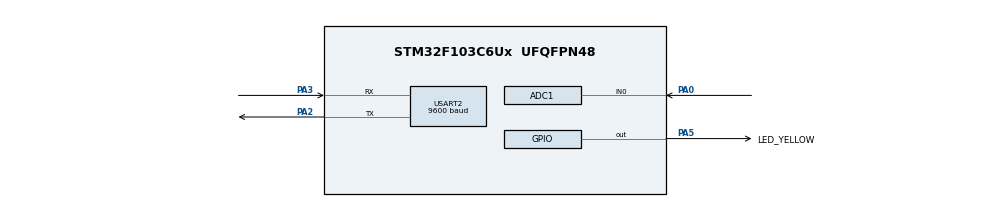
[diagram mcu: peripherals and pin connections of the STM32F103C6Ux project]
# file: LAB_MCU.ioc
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ADC1.Channel-0\#ChannelRegularConversion=ADC_CHANNEL_0
ADC1.ContinuousConvMode=ENABLE
ADC1.NbrOfConversionFlag=1
ADC1.Rank-0\#ChannelRegularConversion=1
ADC1.SamplingTime-0\#ChannelRegularConversion=ADC_SAMPLETIME_1CYCLE_5
ADC1.master=1
Mcu.Family=STM32F1
Mcu.Name=STM32F103C6Ux
Mcu.Package=UFQFPN48
NVIC.PriorityGroup=NVIC_PRIORITYGROUP_4
NVIC.TIM2_IRQn=true\:0\:0\:false\:false\:true\:true\:true
NVIC.USART2_IRQn=true\:0\:0\:false\:false\:true\:true\:true
PA0-WKUP.Signal=ADCx_IN0
PA2.Mode=Asynchronous
PA2.Signal=USART2_TX
PA3.Mode=Asynchronous
PA3.Signal=USART2_RX
PA5.GPIO_Label=LED_YELLOW
PA5.Signal=GPIO_Output
ProjectManager.HeapSize=0x200
ProjectManager.StackSize=0x400
ProjectManager.TargetToolchain=STM32CubeIDE
RCC.APB1Freq_Value=8000000
RCC.APB2Freq_Value=8000000
SH.ADCx_IN0.0=ADC1_IN0,IN0
TIM2.Period=9
TIM2.Prescaler=7999
USART2.BaudRate=9600
USART2.VirtualMode=VM_ASYNC
VP_SYS_VS_ND.Mode=No_Debug
VP_TIM2_VS_ClockSourceINT.Mode=Internal
board=custom

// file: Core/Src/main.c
/* USER CODE BEGIN Header */
/**
 ******************************************************************************
 * @file           : main.c
 * @brief          : Main program body
 ******************************************************************************
 * @attention
 *
 * <h2><center>&copy; Copyright (c) 2024 STMicroelectronics.
 * All rights reserved.</center></h2>
 *
 * This software component is licensed by ST under BSD 3-Clause license,
 * the "License"; You may not use this file except in compliance with the
 * License. You may obtain a copy of the License at:
 *                        opensource.org/licenses/BSD-3-Clause
 *
 ******************************************************************************
 */
/* USER CODE END Header */
#include "main.h"

/* USER CODE BEGIN Includes */
#include "command_parser_fsm.h"
#include "uart_communication_fsm.h"
#include "software_timer.h"
/* USER CODE END Includes */

ADC_HandleTypeDef hadc1;

TIM_HandleTypeDef htim2;

UART_HandleTypeDef huart2;

void SystemClock_Config(void);
static void MX_GPIO_Init(void);
static void MX_ADC1_Init(void);
static void MX_USART2_UART_Init(void);
static void MX_TIM2_Init(void);

/* USER CODE BEGIN 0 */
#define MAX_BUFFER_SIZE 30
uint8_t temp = 0;
uint8_t buffer[MAX_BUFFER_SIZE];
uint8_t index_buffer = 0;
uint8_t buffer_flag = 0;
void HAL_UART_RxCpltCallback(UART_HandleTypeDef *huart) {
	if (huart->Instance == USART2) {
		//HAL_UART_Transmit(&huart2, &temp, 1, 50);
		buffer[index_buffer++] = temp;
		if (index_buffer == 30)
			index_buffer = 0;
		buffer_flag = 1;
		HAL_UART_Receive_IT(&huart2, &temp, 1);
	}
}
/* USER CODE END 0 */

int main(void) {

	/* MCU Configuration--------------------------------------------------------*/

	/* Reset of all peripherals, Initializes the Flash interface and the Systick. */
	HAL_Init();

	/* Configure the system clock */
	SystemClock_Config();

	/* Initialize all configured peripherals */
	MX_GPIO_Init();
	MX_ADC1_Init();
	MX_USART2_UART_Init();
	MX_TIM2_Init();
	/* USER CODE BEGIN 2 */
	HAL_UART_Receive_IT(&huart2, &temp, 1);
	HAL_TIM_Base_Start_IT(&htim2);
	/* USER CODE END 2 */

	/* Infinite loop */
	/* USER CODE BEGIN WHILE */
	state = IDLE;
	while (1) {
		if (buffer_flag == 1) {
			command_parser_fsm_run();
			buffer_flag = 0;
		}
		uart_communication_fsm_run();
		/* USER CODE END WHILE */

	}
}

void SystemClock_Config(void) {
	RCC_OscInitTypeDef RCC_OscInitStruct = { 0 };
	RCC_ClkInitTypeDef RCC_ClkInitStruct = { 0 };
	RCC_PeriphCLKInitTypeDef PeriphClkInit = { 0 };

	/** Initializes the RCC Oscillators according to the specified parameters
	 * in the RCC_OscInitTypeDef structure.
	 */
	RCC_OscInitStruct.OscillatorType = RCC_OSCILLATORTYPE_HSI;
	RCC_OscInitStruct.HSIState = RCC_HSI_ON;
	RCC_OscInitStruct.HSICalibrationValue = RCC_HSICALIBRATION_DEFAULT;
	RCC_OscInitStruct.PLL.PLLState = RCC_PLL_NONE;
	if (HAL_RCC_OscConfig(&RCC_OscInitStruct) != HAL_OK) {
		Error_Handler();
	}
	/** Initializes the CPU, AHB and APB buses clocks
	 */
	RCC_ClkInitStruct.ClockType = RCC_CLOCKTYPE_HCLK | RCC_CLOCKTYPE_SYSCLK
			| RCC_CLOCKTYPE_PCLK1 | RCC_CLOCKTYPE_PCLK2;
	RCC_ClkInitStruct.SYSCLKSource = RCC_SYSCLKSOURCE_HSI;
	RCC_ClkInitStruct.AHBCLKDivider = RCC_SYSCLK_DIV1;
	RCC_ClkInitStruct.APB1CLKDivider = RCC_HCLK_DIV1;
	RCC_ClkInitStruct.APB2CLKDivider = RCC_HCLK_DIV1;

	if (HAL_RCC_ClockConfig(&RCC_ClkInitStruct, FLASH_LATENCY_0) != HAL_OK) {
		Error_Handler();
	}
	PeriphClkInit.PeriphClockSelection = RCC_PERIPHCLK_ADC;
	PeriphClkInit.AdcClockSelection = RCC_ADCPCLK2_DIV2;
	if (HAL_RCCEx_PeriphCLKConfig(&PeriphClkInit) != HAL_OK) {
		Error_Handler();
	}
}

static void MX_ADC1_Init(void) {

	ADC_ChannelConfTypeDef sConfig = { 0 };

	/** Common config
	 */
	hadc1.Instance = ADC1;
	hadc1.Init.ScanConvMode = ADC_SCAN_DISABLE;
	hadc1.Init.ContinuousConvMode = ENABLE;
	hadc1.Init.DiscontinuousConvMode = DISABLE;
	hadc1.Init.ExternalTrigConv = ADC_SOFTWARE_START;
	hadc1.Init.DataAlign = ADC_DATAALIGN_RIGHT;
	hadc1.Init.NbrOfConversion = 1;
	if (HAL_ADC_Init(&hadc1) != HAL_OK) {
		Error_Handler();
	}
	/** Configure Regular Channel
	 */
	sConfig.Channel = ADC_CHANNEL_0;
	sConfig.Rank = ADC_REGULAR_RANK_1;
	sConfig.SamplingTime = ADC_SAMPLETIME_1CYCLE_5;
	if (HAL_ADC_ConfigChannel(&hadc1, &sConfig) != HAL_OK) {
		Error_Handler();
	}

}

static void MX_TIM2_Init(void) {

	TIM_ClockConfigTypeDef sClockSourceConfig = { 0 };
	TIM_MasterConfigTypeDef sMasterConfig = { 0 };

	htim2.Instance = TIM2;
	htim2.Init.Prescaler = 7999;
	htim2.Init.CounterMode = TIM_COUNTERMODE_UP;
	htim2.Init.Period = 9;
	htim2.Init.ClockDivision = TIM_CLOCKDIVISION_DIV1;
	htim2.Init.AutoReloadPreload = TIM_AUTORELOAD_PRELOAD_DISABLE;
	if (HAL_TIM_Base_Init(&htim2) != HAL_OK) {
		Error_Handler();
	}
	sClockSourceConfig.ClockSource = TIM_CLOCKSOURCE_INTERNAL;
	if (HAL_TIM_ConfigClockSource(&htim2, &sClockSourceConfig) != HAL_OK) {
		Error_Handler();
	}
	sMasterConfig.MasterOutputTrigger = TIM_TRGO_RESET;
	sMasterConfig.MasterSlaveMode = TIM_MASTERSLAVEMODE_DISABLE;
	if (HAL_TIMEx_MasterConfigSynchronization(&htim2, &sMasterConfig)
			!= HAL_OK) {
		Error_Handler();
	}

}

static void MX_USART2_UART_Init(void) {

	huart2.Instance = USART2;
	huart2.Init.BaudRate = 9600;
	huart2.Init.WordLength = UART_WORDLENGTH_8B;
	huart2.Init.StopBits = UART_STOPBITS_1;
	huart2.Init.Parity = UART_PARITY_NONE;
	huart2.Init.Mode = UART_MODE_TX_RX;
	huart2.Init.HwFlowCtl = UART_HWCONTROL_NONE;
	huart2.Init.OverSampling = UART_OVERSAMPLING_16;
	if (HAL_UART_Init(&huart2) != HAL_OK) {
		Error_Handler();
	}

}

static void MX_GPIO_Init(void) {
	GPIO_InitTypeDef GPIO_InitStruct = { 0 };

	/* GPIO Ports Clock Enable */
	__HAL_RCC_GPIOA_CLK_ENABLE();

	/*Configure GPIO pin Output Level */
	HAL_GPIO_WritePin(LED_YELLOW_GPIO_Port, LED_YELLOW_Pin, GPIO_PIN_RESET);

	/*Configure GPIO pin : LED_YELLOW_Pin */
	GPIO_InitStruct.Pin = LED_YELLOW_Pin;
	GPIO_InitStruct.Mode = GPIO_MODE_OUTPUT_PP;
	GPIO_InitStruct.Pull = GPIO_NOPULL;
	GPIO_InitStruct.Speed = GPIO_SPEED_FREQ_LOW;
	HAL_GPIO_Init(LED_YELLOW_GPIO_Port, &GPIO_InitStruct);

}

/* USER CODE BEGIN 4 */
void HAL_TIM_PeriodElapsedCallback(TIM_HandleTypeDef *htim) {
	timerRun();
}
/* USER CODE END 4 */

void Error_Handler(void) {
	__disable_irq();
	while (1) {
	}
}

/************************ (C) COPYRIGHT STMicroelectronics *****END OF FILE****/
